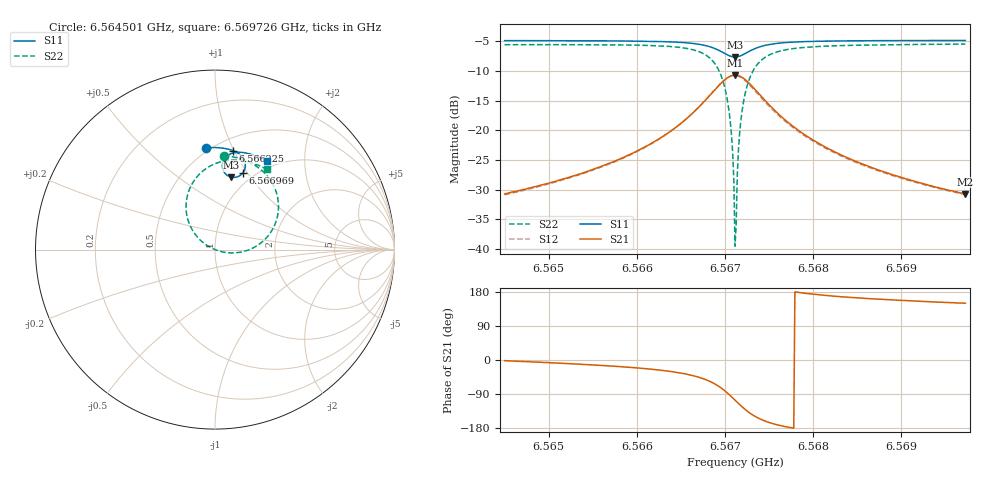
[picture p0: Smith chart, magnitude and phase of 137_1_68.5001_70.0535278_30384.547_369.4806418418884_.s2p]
#  HZ  S  RI  R  50.00
! Rohde & Schwarz Vector Network Analyzer
! Rohde-Schwarz,ZNB20-2Port,1311601062101988,3.16
! Created: UTC 3/20/2024, 5:09:51 PM
! freq[Hz]  re:S11  im:S11  re:S21  im:S21  re:S12  im:S12  re:S22  im:S22
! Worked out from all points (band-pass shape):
!   401 points, 6.564501 GHz to 6.569726 GHz, reference 50 ohm
!   highest |S21| = -10.70 dB at 6.567113 GHz (marker M1); lowest = -30.7 dB at 6.569726 GHz (marker M2)
!   |S21| within 3 dB of the highest: 6.566853 GHz to 6.567375 GHz (522.4 kHz wide, 0.00795 % of centre)
!   lowest |S11| = -7.7 dB at 6.567113 GHz (marker M3), VSWR 2.41, Z = 41.9 + j40.8 ohm
!   |S11| at or under -10 dB: nowhere
!   |S22| runs from -39.5 to -5.5 dB; largest |S21 - S12| = 0.014
!   S11 on the Smith chart (normalised r, x): 6.564501 GHz: 0.47, +0.79; 6.566225 GHz: 0.62, +0.99; 6.566969 GHz: 0.88, +0.95; 6.569726 GHz: 0.90, +1.32
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6.5645008e9  -0.0518 0.5666  0.0291 -0.000893  0.0286 -0.00154  0.0484 0.5236
6.5653759e9  0.0205 0.5674  0.0426 -0.00844  0.0419 -0.00902  0.1331 0.5087
6.566225e9  0.1014 0.5511  0.0742 -0.0359  0.0732 -0.0367  0.2487 0.4513
6.5662511e9  0.1042 0.5497  0.0759 -0.0377  0.0748 -0.0386  0.2536 0.4473
6.5667474e9  0.1627 0.4972  0.1115 -0.1277  0.1089 -0.1302  0.352 0.2724
6.5668781e9  0.1685 0.4606  0.1008 -0.1918  0.0958 -0.1954  0.3379 0.1501
6.5669695e9  0.1555 0.4279  0.0613 -0.2478  0.0527 -0.2509  0.266 0.0456
6.5670087e9  0.1428 0.415  0.0311 -0.2689  0.0207 -0.2704  0.2103 0.00829
6.5670479e9  0.1254 0.4058  -0.00694 -0.2829  -0.0191 -0.282  0.1401 -0.0147
6.567074e9  0.112 0.4027  -0.0358 -0.286  -0.0482 -0.2834  0.0883 -0.0184
6.5671001e9  0.0978 0.4026  -0.0654 -0.2839  -0.0778 -0.2788  0.0356 -0.0115
6.5671132e9  0.0908 0.4036  -0.0801 -0.2804  -0.0921 -0.2744  0.00988 -0.00377
6.5671262e9  0.0839 0.4056  -0.0942 -0.2756  -0.106 -0.2686  -0.0145 0.00647
6.5671393e9  0.0772 0.4082  -0.1079 -0.2697  -0.1192 -0.2614  -0.038 0.0192
6.5671654e9  0.0653 0.4157  -0.1326 -0.2537  -0.1424 -0.2438  -0.0793 0.0503
6.5671916e9  0.0555 0.4251  -0.1531 -0.2342  -0.1611 -0.223  -0.1121 0.0874
6.5672438e9  0.0435 0.4474  -0.1798 -0.1897  -0.1838 -0.1778  -0.1518 0.1687
6.5673091e9  0.0411 0.4746  -0.1901 -0.1365  -0.1902 -0.1258  -0.1603 0.2625
6.5675573e9  0.0794 0.5297  -0.1457 -0.0284  -0.1424 -0.024  -0.0585 0.4449
6.5679883e9  0.1426 0.5423  -0.0831 0.00902  -0.0811 0.0103  0.081 0.4979
6.5688635e9  0.2257 0.5224  -0.0403 0.0155  -0.0393 0.0158  0.2118 0.4814
6.5697256e9  0.29 0.4918  -0.0251 0.0147  -0.0246 0.0148  0.289 0.4464
